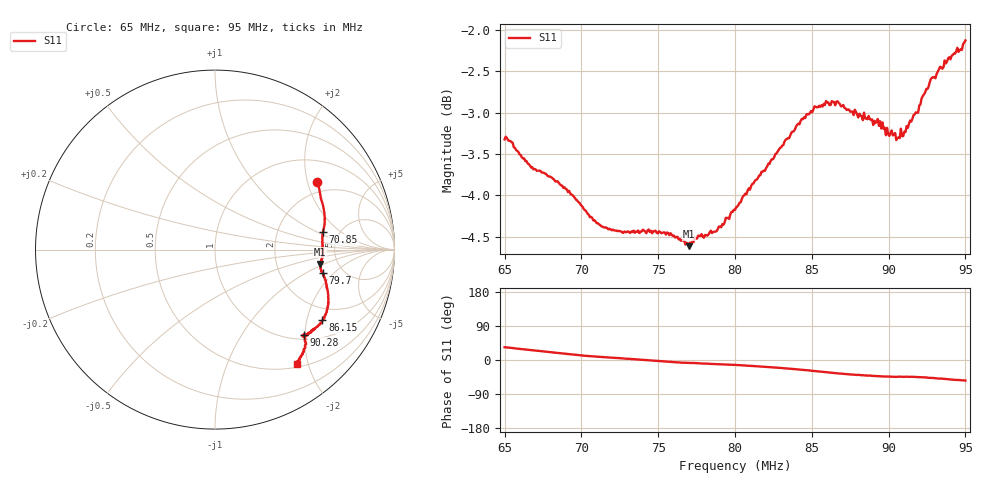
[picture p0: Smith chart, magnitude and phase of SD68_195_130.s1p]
! NanoVNA-App
! Date: 2025-08-09 16:21:38
! Start: 65MHz Stop: 95MHz Points: 401
! S-Parameter data: F S11
# Hz S RI R 50
!  Frequency  S11_Real  S11_Imag
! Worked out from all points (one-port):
!   401 points, 65 MHz to 95 MHz, reference 50 ohm
!   lowest |S11| = -4.6 dB at 77 MHz (marker M1), VSWR 3.85, Z = 181 - j44.3 ohm
!   |S11| at or under -10 dB: nowhere
!   S11 on the Smith chart (normalised r, x): 65 MHz: 1.62, +2.29; 70.85 MHz: 3.73, +1.17; 79.7 MHz: 3.51, -1.49; 86.15 MHz: 1.55, -2.49; 90.28 MHz: 1.10, -1.97; 95 MHz: 0.56, -1.82
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6.5e7  0.5674 0.3784
6.5225e7  0.5728 0.3687
6.6725e7  0.5885 0.2896
6.875e7  0.6104 0.1909
7.0025e7  0.6083 0.1289
7.085e7  0.6014 0.0987
7.25e7  0.5982 0.0508
7.4675e7  0.6001 -0.0159
7.625e7  0.5921 -0.0648
7.7e7  0.5824 -0.0802
7.865e7  0.5894 -0.1113
7.97e7  0.6003 -0.1322
8e7  0.6021 -0.1401
8.18e7  0.6216 -0.197
8.375e7  0.6322 -0.2752
8.5175e7  0.6239 -0.3475
8.615e7  0.5985 -0.3917
8.66e7  0.589 -0.4119
8.75e7  0.5564 -0.439
8.945e7  0.5127 -0.4757
9.0275e7  0.4937 -0.476
9.05e7  0.4849 -0.4786
9.125e7  0.4968 -0.483
9.185e7  0.5008 -0.4999
9.23e7  0.5065 -0.5203
9.2825e7  0.503 -0.5466
9.4025e7  0.4758 -0.5956
9.5e7  0.4577 -0.6348
